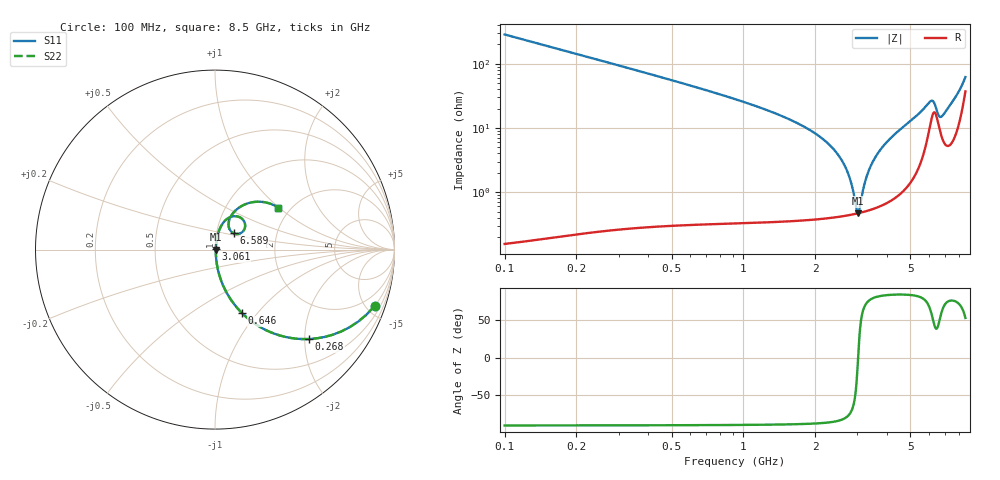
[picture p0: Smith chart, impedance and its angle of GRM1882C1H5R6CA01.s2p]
!Murata Part Number: GRM1882C1H5R6CA01
!These Parameters are Measured in Series Mode Connection
!Data Generated on Mar 30, 2021
!  o--ll--o
!Port1  Port2
!  o------o
!Operation Temp=25[degC], DC Bias Voltage=0[V]
!Freq. Start=100[MHz] Stop=9[GHz] 401[Steps]
# Hz S RI R 50
!Freq.(Hz) S11(Real) S11(Imag) S21(Real) S21(Imag) S12(Real) S12(Imag) S22(Real) S22(Imag)
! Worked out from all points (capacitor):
!   401 points, 100 MHz to 8.5 GHz, reference 50 ohm
!   read as one part in series: C = 5.6 pF near 142 MHz
!   lowest |Z| = 470 mohm at 3.019 GHz (marker M1)
!   series resonance near 3.02 GHz, so ESL is about 500 pH
!   S11 on the Smith chart (normalised r, x): 100 MHz: 1.00, -5.68; 268 MHz: 1.01, -2.10; 646 MHz: 1.01, -0.84; 3.061 GHz: 1.01, +0.01; 6.589 GHz: 1.21, +0.22; 8.5 GHz: 1.74, +0.99
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1e8  0.8894 -0.3133  0.1106 0.3133  0.1106 0.3133  0.8894 -0.3133
2.68e8  0.5251 -0.4982  0.4749 0.4982  0.4749 0.4982  0.5251 -0.4982
4.36e8  0.2903 -0.4516  0.7097 0.4516  0.7097 0.4516  0.2903 -0.4516
6.46e8  0.152 -0.3553  0.848 0.3553  0.848 0.3553  0.152 -0.3553
1.507e9  0.0234 -0.1396  0.9766 0.1396  0.9766 0.1396  0.0234 -0.1396
2.095e9  0.00895 -0.0714  0.9911 0.0714  0.9911 0.0714  0.00895 -0.0714
2.473e9  0.00562 -0.039  0.9944 0.039  0.9944 0.039  0.00562 -0.039
2.746e9  0.0047 -0.0187  0.9953 0.0187  0.9953 0.0187  0.0047 -0.0187
2.914e9  0.00459 -0.00709  0.9954 0.00709  0.9954 0.00709  0.00459 -0.00709
2.977e9  0.00463 -0.00287  0.9954 0.00287  0.9954 0.00287  0.00463 -0.00287
3.019e9  0.00468 -9.77e-05  0.9953 9.77e-05  0.9953 9.77e-05  0.00468 -9.77e-05
3.061e9  0.00474 0.00265  0.9953 -0.00265  0.9953 -0.00265  0.00474 0.00265
3.25e9  0.00523 0.0147  0.9948 -0.0147  0.9948 -0.0147  0.00523 0.0147
3.46e9  0.00616 0.0276  0.9938 -0.0276  0.9938 -0.0276  0.00616 0.0276
3.796e9  0.00845 0.0477  0.9915 -0.0477  0.9915 -0.0477  0.00845 0.0477
4.3e9  0.0141 0.0775  0.9859 -0.0775  0.9859 -0.0775  0.0141 0.0775
5.707e9  0.0736 0.1753  0.9264 -0.1753  0.9264 -0.1753  0.0736 0.1753
6.169e9  0.1609 0.1591  0.8391 -0.1591  0.8391 -0.1591  0.1609 0.1591
6.589e9  0.1038 0.0909  0.8962 -0.0909  0.8962 -0.0909  0.1038 0.0909
7.114e9  0.0786 0.1623  0.9214 -0.1623  0.9214 -0.1623  0.0786 0.1623
7.87e9  0.1604 0.2489  0.8396 -0.2489  0.8396 -0.2489  0.1604 0.2489
8.5e9  0.3536 0.2329  0.6464 -0.2329  0.6464 -0.2329  0.3536 0.2329
